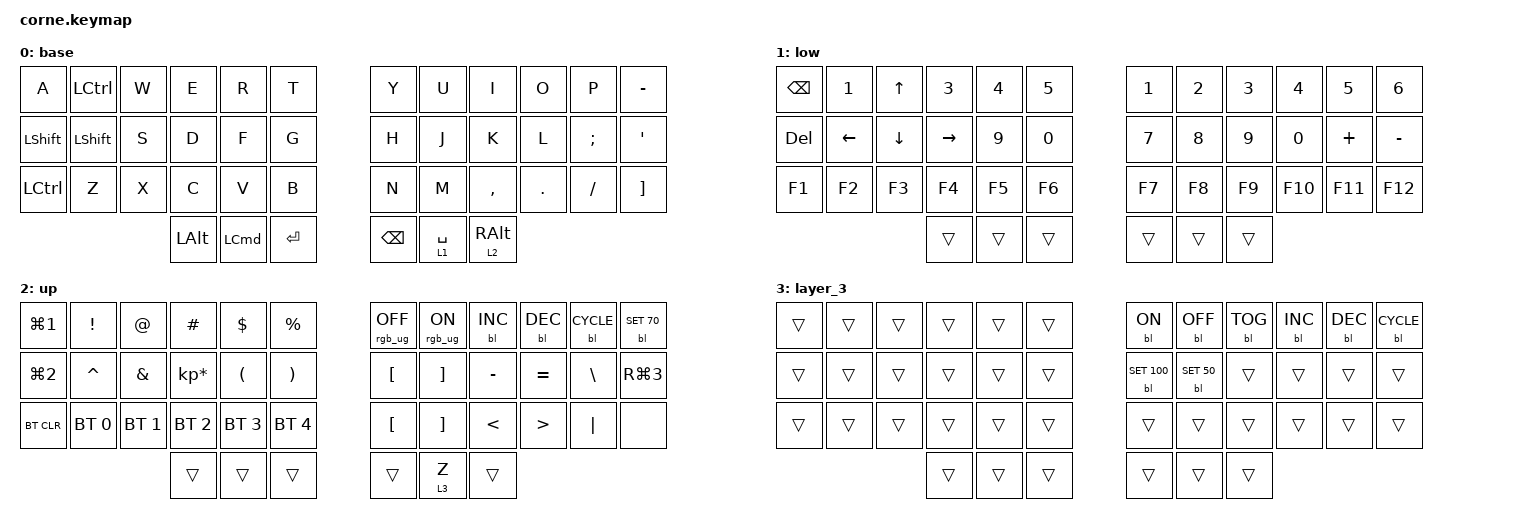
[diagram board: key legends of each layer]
/*
 * Copyright (c) 2020 The ZMK Contributors
 *
 * SPDX-License-Identifier: MIT
 */

#include <behaviors.dtsi>
#include <dt-bindings/zmk/backlight.h>
#include <dt-bindings/zmk/bt.h>
#include <dt-bindings/zmk/keys.h>
#include <dt-bindings/zmk/rgb.h>

#define LEFT_POSITIONS  0 1 2 3 4 5 12 13 14 15 16 17 24 25 26 27 28 29 36 37 38
#define RIGHT_POSITIONS 6 7 8 9 10 11 18 19 20 21 22 23 30 31 32 33 34 35 39 40 41

/* Key Positions
╭────────────────────────╮ ╭────────────────────────╮
│  0   1   2   3   4   5 │ │  6   7   8   9  10  11 │
│ 12  13  14  15  16  17 │ │ 18  19  20  21  22  23 │
│ 24  25  26  27  28  29 │ │ 30  31  32  33  34  35 │
╰───────────╮ 36  37  38 │ │ 39  40  41 ╭───────────╯
            ╰────────────╯ ╰────────────╯
*/
// Mouse Overrides

#define ZMK_MOUSE_DEFAULT_MOVE_VAL 2400
#define ZMK_MOUSE_DEFAULT_SCRL_VAL 40

// Layers

#define DEFAULT   0
#define LOWER     1
#define UPPER     2
#define MACRO     3

/ {
    behaviors {
        hrml: home_row_mods_left {
            compatible = "zmk,behavior-hold-tap";
            #binding-cells = <2>;
            tapping-term-ms = <200>;
            quick-tap-ms = <150>;
            flavor = "balanced";

            //require-prior-idle-ms = <125>;

            hold-trigger-key-positions = < RIGHT_POSITIONS >;

            //hold-trigger-on-release; // delay positional check until key release

            bindings = <&kp>, <&kp>;
        };

        hrmr: home_row_mods_right {
            compatible = "zmk,behavior-hold-tap";
            #binding-cells = <2>;
            tapping-term-ms = <200>;
            quick-tap-ms = <150>;
            flavor = "balanced";

            //require-prior-idle-ms = <125>;

            hold-trigger-key-positions = < LEFT_POSITIONS >;

            //hold-trigger-on-release; // delay positional check until key release

            bindings = <&kp>, <&kp>;
        };

        lthp: layer_tap_hold_preferred {
            compatible = "zmk,behavior-hold-tap";
            #binding-cells = <2>;
            tapping-term-ms = <300>;
            quick-tap-ms = <150>;

            //require-prior-idle-ms = <125>;

            flavor = "hold-preferred";
            bindings = <&mo>, <&kp>;
        };

        mthp: mod_tap_hold_preferred {
            compatible = "zmk,behavior-hold-tap";
            #binding-cells = <2>;
            tapping-term-ms = <300>;
            quick-tap-ms = <150>;

            //require-prior-idle-ms = <125>;

            flavor = "hold-preferred";
            bindings = <&kp>, <&kp>;
        };

        mttp: mod_tap_tap_preferred {
            compatible = "zmk,behavior-hold-tap";
            #binding-cells = <2>;
            tapping-term-ms = <300>;
            quick-tap-ms = <150>;

            //require-prior-idle-ms = <125>;

            flavor = "tap-preferred";
            bindings = <&kp>, <&kp>;
        };
    };

    macros {
        vim_save: vim_save {
            compatible = "zmk,behavior-macro";
            #binding-cells = <0>;
            bindings = <&macro_tap>, <&kp ESC &kp COLON &kp W &kp RETURN>;
        };

        vim_quit: vim_quit {
            compatible = "zmk,behavior-macro";
            #binding-cells = <0>;
            bindings = <&macro_tap>, <&kp ESC &kp COLON &kp Q &kp RETURN>;
        };

        vim_up: vim_up {
            compatible = "zmk,behavior-macro";
            #binding-cells = <0>;
            bindings = <&macro_tap>, <&kp LCTRL &kp U>;
        };

        vim_down: vim_down {
            compatible = "zmk,behavior-macro";
            #binding-cells = <0>;
            bindings = <&macro_tap>, <&kp LCTRL &kp D>;
        };
    };

    keymap {
        compatible = "zmk,keymap";

        default_layer {
            display-name = "base";
            bindings = <
&kp A      &kp LEFT_CONTROL  &kp W  &kp E         &kp R             &kp T        &kp Y          &kp U        &kp I            &kp O       &kp P          &kp MINUS
&kp LSHFT  &kp LSHIFT        &kp S  &kp D         &kp F             &kp G        &kp H          &kp J        &kp K            &kp L       &kp SEMICOLON  &kp SQT
&kp LCTRL  &kp Z             &kp X  &kp C         &kp V             &kp B        &kp N          &kp M        &kp COMMA        &kp PERIOD  &kp SLASH      &kp RIGHT_BRACKET
                                    &kp LEFT_ALT  &kp LEFT_COMMAND  &kp ENTER    &kp BACKSPACE  &lt 1 SPACE  &lt 2 RIGHT_ALT
            >;
        };

        lower_layer {
            display-name = "low";
            bindings = <
&kp BSPC  &kp N1          &kp UP_ARROW    &kp N3           &kp N4  &kp N5    &kp NUMBER_1  &kp NUMBER_2  &kp NUMBER_3  &kp NUMBER_4  &kp N5    &kp NUMBER_6
&kp DEL   &kp LEFT_ARROW  &kp DOWN_ARROW  &kp RIGHT_ARROW  &kp N9  &kp N0    &kp N7        &kp N8        &kp N9        &kp N0        &kp PLUS  &kp MINUS
&kp F1    &kp F2          &kp F3          &kp F4           &kp F5  &kp F6    &kp F7        &kp F8        &kp F9        &kp F10       &kp F11   &kp F12
                                          &trans           &trans  &trans    &trans        &trans        &trans
            >;
        };

        raise_layer {
            display-name = "up";
            bindings = <
&kp LG(N1)  &kp EXCL      &kp AT        &kp HASH         &kp DLLR      &kp PRCNT       &rgb_ug RGB_OFF  &rgb_ug RGB_ON  &bl BL_INC  &bl BL_DEC  &bl BL_CYCLE  &bl BL_SET 70
&kp LG(N2)  &kp CARET     &kp AMPS      &kp KP_ASTERISK  &kp LPAR      &kp RPAR        &kp LBKT         &kp RBKT        &kp MINUS   &kp EQUAL   &kp BSLH      &kp RG(N3)
&bt BT_CLR  &bt BT_SEL 0  &bt BT_SEL 1  &bt BT_SEL 2     &bt BT_SEL 3  &bt BT_SEL 4    &kp LBKT         &kp RBKT        &kp LT      &kp GT      &kp PIPE      &none
                                        &trans           &trans        &trans          &trans           &lt 3 Z         &trans
            >;
        };

        layer_3 {
            bindings = <
&trans  &trans  &trans  &trans  &trans  &trans    &bl BL_ON       &bl BL_OFF     &bl BL_TOG  &bl BL_INC  &bl BL_DEC  &bl BL_CYCLE
&trans  &trans  &trans  &trans  &trans  &trans    &bl BL_SET 100  &bl BL_SET 50  &trans      &trans      &trans      &trans
&trans  &trans  &trans  &trans  &trans  &trans    &trans          &trans         &trans      &trans      &trans      &trans
                        &trans  &trans  &trans    &trans          &trans         &trans
            >;
        };
    };
};
